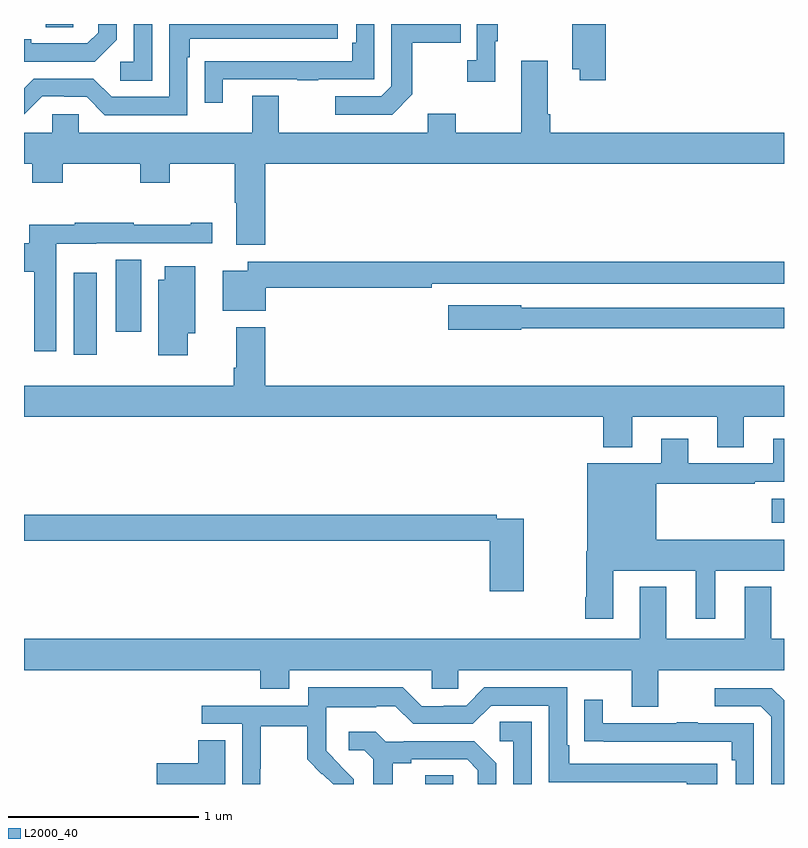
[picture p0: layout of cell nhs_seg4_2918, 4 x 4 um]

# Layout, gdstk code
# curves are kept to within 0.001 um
import gdstk
lib = gdstk.Library(unit=1e-6, precision=1e-09)
def R(c, l, rs):  # rectangles x0, y0, x1, y1
    for r in rs: c.add(gdstk.rectangle(r[:2], r[2:], *l))
def P(c, l, *ps):  # polygons
    for p in ps: c.add(gdstk.Polygon(p, *l))
L2000_40 = (2000, 40)

nhs_seg4_2918 = lib.new_cell('nhs_seg4_2918')
R(nhs_seg4_2918, L2000_40, [(267.113,782.9,267.258,782.945), (268.935,784.274,269,784.402), (265.262,785.16,265.384,785.59), (265.484,785.28,265.618,785.66), (265.115,786.883,265.26,786.9)])
P(nhs_seg4_2918, L2000_40, [(266.047,786.609),(266.437,786.609),(266.437,786.604),(266.549,786.604),(266.549,786.609),(266.844,786.609),(266.844,786.9),(266.748,786.9),(266.748,786.802),(266.728,786.802),(266.728,786.705),(266.053,786.705),(266.053,786.704),(265.951,786.704),(265.951,786.486),(266.047,786.486)],
  [(265.488,786.818),(265.488,786.9),(265.391,786.9),(265.391,786.855),(265.334,786.798),(265.039,786.798),(265.039,786.821),(265,786.821),(265,786.702),(265.372,786.702)],
  [(268.061,786.9),(267.886,786.9),(267.886,786.662),(267.926,786.662),(267.926,786.603),(268.061,786.603)],
  [(267.043,786.529),(267.043,786.802),(267.299,786.802),(267.299,786.9),(266.934,786.9),(266.934,786.573),(266.88,786.519),(266.637,786.519),(266.637,786.423),(266.937,786.423)],
  [(267.481,786.809),(267.493,786.809),(267.493,786.9),(267.384,786.9),(267.384,786.71),(267.333,786.71),(267.333,786.597),(267.481,786.597)],
  [(265.674,786.9),(265.578,786.9),(265.578,786.702),(265.506,786.702),(265.506,786.601),(265.674,786.601)],
  [(265.86,786.725),(265.873,786.725),(265.873,786.822),(266.65,786.822),(266.65,786.9),(265.764,786.9),(265.764,786.516),(265.461,786.516),(265.365,786.612),(265.05,786.612),(265,786.562),(265,786.424),(265.095,786.519),(265.211,786.519),(265.211,786.516),(265.329,786.516),(265.425,786.42),(265.86,786.42)],
  [(266.27,786.164),(269,786.164),(269,786.328),(267.77,786.328),(267.77,786.424),(267.757,786.424),(267.757,786.706),(267.617,786.706),(267.617,786.328),(267.273,786.328),(267.273,786.427),(267.125,786.427),(267.125,786.328),(266.341,786.328),(266.341,786.523),(266.201,786.523),(266.201,786.328),(265.287,786.328),(265.287,786.426),(265.149,786.426),(265.149,786.328),(265,786.328),(265,786.164),(265.043,786.164),(265.043,786.065),(265.203,786.065),(265.203,786.164),(265.612,786.164),(265.612,786.065),(265.767,786.065),(265.767,786.164),(266.11,786.164),(266.11,785.96),(266.117,785.96),(266.117,785.739),(266.27,785.739)],
  [(265.17,785.744),(265.38,785.744),(265.38,785.745),(265.99,785.745),(265.99,785.854),(265.877,785.854),(265.877,785.844),(265.577,785.844),(265.577,785.854),(265.267,785.854),(265.267,785.844),(265.028,785.844),(265.028,785.745),(265,785.745),(265,785.597),(265.054,785.597),(265.054,785.178),(265.17,785.178)],
  [(266.272,785.512),(267.146,785.512),(267.146,785.532),(269,785.532),(269,785.648),(266.178,785.648),(266.178,785.602),(266.045,785.602),(266.045,785.39),(266.272,785.39)],
  [(265.861,785.273),(265.9,785.273),(265.9,785.626),(265.742,785.626),(265.742,785.554),(265.706,785.554),(265.706,785.157),(265.861,785.157)],
  [(267.618,785.298),(269,785.298),(269,785.406),(267.618,785.406),(267.618,785.419),(267.234,785.419),(267.234,785.29),(267.618,785.29)],
  [(268.789,784.832),(269,784.832),(269,784.996),(266.27,784.996),(266.27,785.305),(266.117,785.305),(266.117,785.092),(266.105,785.092),(266.105,784.996),(265,784.996),(265,784.832),(268.049,784.832),(268.049,784.673),(268.201,784.673),(268.201,784.832),(268.649,784.832),(268.649,784.672),(268.789,784.672)],
  [(268.102,784.022),(268.535,784.022),(268.535,783.771),(268.639,783.771),(268.639,784.022),(269,784.022),(269,784.186),(268.327,784.186),(268.327,784.479),(268.847,784.479),(268.847,784.491),(269,784.491),(269,784.717),(268.943,784.717),(268.943,784.587),(268.495,784.587),(268.495,784.717),(268.355,784.717),(268.355,784.588),(267.965,784.588),(267.965,784.126),(267.958,784.126),(267.958,783.883),(267.953,783.883),(267.953,783.771),(268.102,783.771)],
  [(267.63,784.296),(267.488,784.296),(267.488,784.316),(265,784.316),(265,784.18),(267.452,784.18),(267.452,783.915),(267.63,783.915)],
  [(268.339,783.5),(269,783.5),(269,783.664),(268.933,783.664),(268.933,783.937),(268.793,783.937),(268.793,783.664),(268.381,783.664),(268.381,783.937),(268.241,783.937),(268.241,783.664),(265,783.664),(265,783.5),(266.243,783.5),(266.243,783.401),(266.395,783.401),(266.395,783.5),(267.147,783.5),(267.147,783.402),(267.285,783.402),(267.285,783.5),(268.199,783.5),(268.199,783.306),(268.339,783.306)],
  [(266.244,782.98),(266.247,782.98),(266.247,783.204),(266.491,783.204),(266.491,783.029),(266.568,782.952),(266.571,782.955),(266.627,782.9),(266.736,782.9),(266.736,782.926),(266.59,783.074),(266.59,783.171),(266.592,783.171),(266.592,783.305),(266.855,783.305),(266.855,783.309),(266.955,783.309),(267.048,783.216),(267.363,783.216),(267.459,783.312),(267.762,783.312),(267.762,782.91),(268.487,782.91),(268.487,782.9),(268.648,782.9),(268.648,783.006),(267.871,783.006),(267.871,783.103),(267.858,783.103),(267.858,783.408),(267.423,783.408),(267.327,783.312),(267.209,783.312),(267.209,783.309),(267.093,783.309),(266.993,783.409),(266.496,783.409),(266.496,783.312),(265.935,783.312),(265.935,783.216),(266.148,783.216),(266.148,782.9),(266.244,782.9)],
  [(269,783.34),(268.935,783.405),(268.635,783.405),(268.635,783.309),(268.878,783.309),(268.932,783.255),(268.932,782.9),(269,782.9)],
  [(268.842,783.219),(268.547,783.219),(268.547,783.224),(268.435,783.224),(268.435,783.219),(268.045,783.219),(268.045,783.343),(267.949,783.343),(267.949,783.124),(268.051,783.124),(268.051,783.123),(268.726,783.123),(268.726,783.026),(268.746,783.026),(268.746,782.9),(268.842,782.9)],
  [(267.672,783.227),(267.504,783.227),(267.504,783.126),(267.576,783.126),(267.576,782.9),(267.672,782.9)],
  [(266.941,783.008),(267.037,783.008),(267.037,783.03),(267.332,783.03),(267.389,782.973),(267.389,782.9),(267.486,782.9),(267.486,783.01),(267.37,783.126),(266.998,783.126),(266.998,783.123),(266.904,783.123),(266.852,783.175),(266.709,783.175),(266.709,783.078),(266.79,783.078),(266.837,783.031),(266.837,782.9),(266.941,782.9)],
  [(266.059,783.131),(265.916,783.131),(265.916,783.008),(265.698,783.008),(265.698,782.9),(266.059,782.9)])

lib.write_gds('nhs_seg4_2918.gds')
